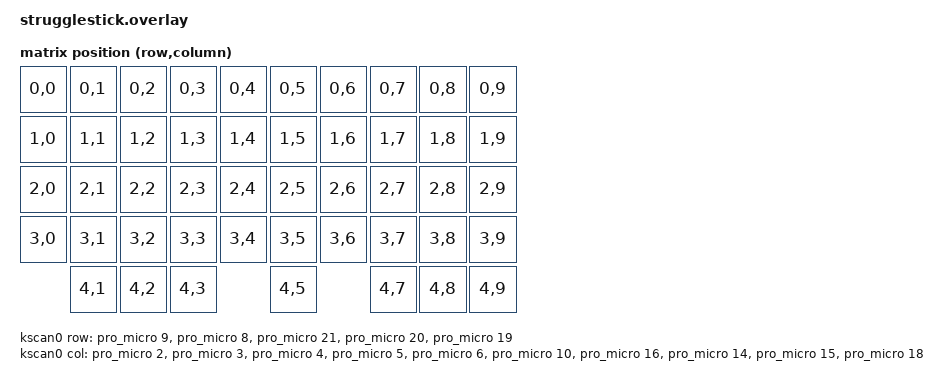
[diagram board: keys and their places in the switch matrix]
/*
 * Copyright (c) 2020 The ZMK Contributors
 *
 * SPDX-License-Identifier: MIT
 */

#include <dt-bindings/zmk/matrix_transform.h>

#include <zephyr/dt-bindings/input/input-event-codes.h>
/* Reference: https://docs.zephyrproject.org/apidoc/latest/group__input__events.html */

#include <input/processors.dtsi>

/ {
    chosen {
        zmk,kscan = &kscan0;
        zmk,matrix-transform = &default_transform;
    };

    kscan0: kscan {
        compatible = "zmk,kscan-gpio-matrix";
        diode-direction = "col2row";
        wakeup-source;

        col-gpios
            = <&pro_micro 2 GPIO_ACTIVE_HIGH> // col 0
            , <&pro_micro 3 GPIO_ACTIVE_HIGH> // col 1
            , <&pro_micro 4 GPIO_ACTIVE_HIGH> // col 2
            , <&pro_micro 5 GPIO_ACTIVE_HIGH> // col 3
            , <&pro_micro 6 GPIO_ACTIVE_HIGH> // col 4
            , <&pro_micro 10 GPIO_ACTIVE_HIGH> // col 5
            , <&pro_micro 16 GPIO_ACTIVE_HIGH> // col 6
            , <&pro_micro 14 GPIO_ACTIVE_HIGH> // col 7
            , <&pro_micro 15 GPIO_ACTIVE_HIGH> // col 8
            , <&pro_micro 18 GPIO_ACTIVE_HIGH> // col 9
            ;

        row-gpios
            = <&pro_micro 9 (GPIO_ACTIVE_HIGH | GPIO_PULL_DOWN)> // row 0
            , <&pro_micro 8 (GPIO_ACTIVE_HIGH | GPIO_PULL_DOWN)> // row 1
            , <&pro_micro 21 (GPIO_ACTIVE_HIGH | GPIO_PULL_DOWN)> // row 2
            , <&pro_micro 20 (GPIO_ACTIVE_HIGH | GPIO_PULL_DOWN)> // row 3
            , <&pro_micro 19 (GPIO_ACTIVE_HIGH | GPIO_PULL_DOWN)> // row 4
            ;
    };

    default_transform: keymap_transform_0 {
        compatible = "zmk,matrix-transform";
        columns = <10>;
        rows = <5>;

         map = <
        RC(0,0) RC(0,1) RC(0,2) RC(0,3) RC(0,4) RC(0,5) RC(0,6) RC(0,7) RC(0,8) RC(0,9) 
        RC(1,0) RC(1,1) RC(1,2) RC(1,3) RC(1,4) RC(1,5) RC(1,6) RC(1,7) RC(1,8) RC(1,9) 
        RC(2,0) RC(2,1) RC(2,2) RC(2,3) RC(2,4) RC(2,5) RC(2,6) RC(2,7) RC(2,8) RC(2,9) 
        RC(3,0) RC(3,1) RC(3,2) RC(3,3) RC(3,4) RC(3,5) RC(3,6) RC(3,7) RC(3,8) RC(3,9) 
                RC(4,1) RC(4,2) RC(4,3)         RC(4,5)         RC(4,7) RC(4,8) RC(4,9)
         >;
    };
};

&adc {
	status = "okay";
};

/ {
	anin0: analog_input_0 {
		compatible = "zmk,analog-input";
		sampling-hz = <100>;
		x-ch {
			io-channels = <&adc 1>;
			mv-mid = <512>;
			mv-min-max = <10>;
			mv-deadzone = <100>;
			scale-multiplier = <1>;
			scale-divisor = <1>;
			invert;
			evt-type = <INPUT_EV_REL>;
			input-code = <INPUT_REL_X>;
		};
		y-ch {
			io-channels = <&adc 0>;
			mv-mid = <512>;
			mv-min-max = <10>;
			mv-deadzone = <100>;
			scale-multiplier = <1>;
			scale-divisor = <1>;
			invert;
			evt-type = <INPUT_EV_REL>;
			input-code = <INPUT_REL_Y>;

			/* enable report mdoe for gamepad axix or knob */
			/* to only call input_report on quantquantized value is updated */
			report-on-change-only;

		};
	};
};

/ {
    joystick_listener {
        compatible = "zmk,input-listener";
        device = <&anin0>;
    };
};
